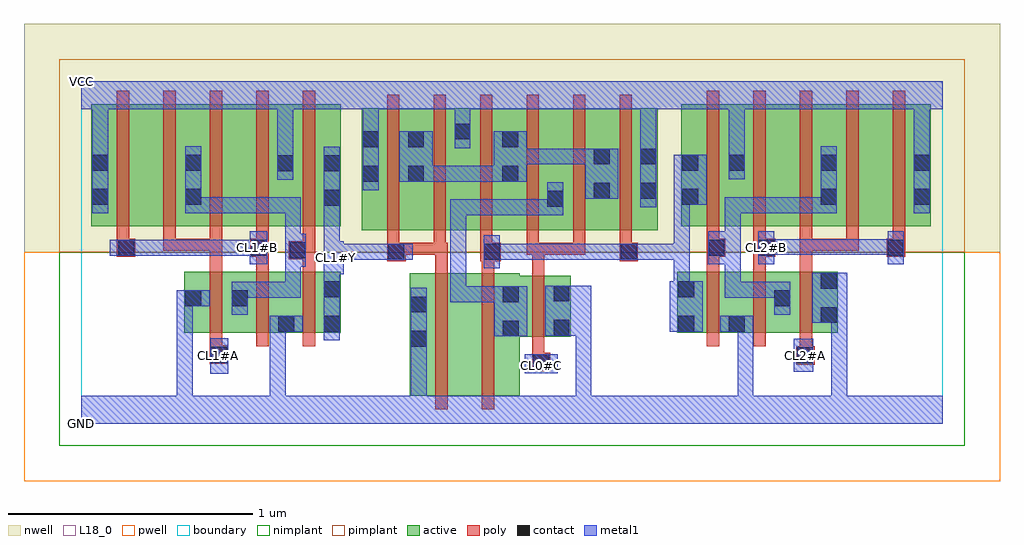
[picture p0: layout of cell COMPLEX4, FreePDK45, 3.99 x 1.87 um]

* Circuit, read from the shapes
.subckt COMPLEX4 CL0#C CL1#A CL1#B CL1#Y CL2#A CL2#B GND VCC
M1 n1 CL1#A GND VSUBS nfet w=0.25u l=0.05u
M2 GND CL1#B n1 VSUBS nfet w=0.25u l=0.05u
M3 CL1#Y n1 GND VSUBS nfet w=0.25u l=0.05u
M4 n2 CL1#Y GND VSUBS nfet w=0.5u l=0.05u
M5 n3 n4 n2 VSUBS nfet w=0.5u l=0.05u
M6 GND CL0#C n3 VSUBS nfet w=0.25u l=0.05u
M7 GND n5 n4 VSUBS nfet w=0.25u l=0.05u
M8 n5 CL2#B GND VSUBS nfet w=0.25u l=0.05u
M9 GND CL2#A n5 VSUBS nfet w=0.25u l=0.05u
M10 n6 CL1#B VCC n7 pfet w=0.5u l=0.05u
M11 n1 CL1#A n6 n7 pfet w=0.5u l=0.05u
M12 n8 CL1#A n1 n7 pfet w=0.5u l=0.05u
M13 VCC CL1#B n8 n7 pfet w=0.5u l=0.05u
M14 CL1#Y n1 VCC n7 pfet w=0.5u l=0.05u
M15 n9 CL1#Y VCC n7 pfet w=0.5u l=0.05u m=2
M16 n9 n4 VCC n7 pfet w=0.5u l=0.05u m=2
M17 n3 CL0#C n9 n7 pfet w=0.5u l=0.05u m=2
M18 VCC n5 n4 n7 pfet w=0.5u l=0.05u
M19 n10 CL2#B VCC n7 pfet w=0.5u l=0.05u
M20 n5 CL2#A n10 n7 pfet w=0.5u l=0.05u
M21 n11 CL2#A n5 n7 pfet w=0.5u l=0.05u
M22 VCC CL2#B n11 n7 pfet w=0.5u l=0.05u
.ends

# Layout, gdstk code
import gdstk
lib = gdstk.Library(unit=1e-6, precision=1e-09)
def R(c, l, rs):  # rectangles x0, y0, x1, y1
    for r in rs: c.add(gdstk.rectangle(r[:2], r[2:], *l))
def A(c, l, x, y, w, h, nx, ny, dx, dy):  # array of equal rectangles
    R(c, l, [(x+i*dx, y+j*dy, x+i*dx+w, y+j*dy+h) for i in range(nx) for j in range(ny)])
active = (1, 0)
pwell = (2, 0)
nwell = (3, 0)
nimplant = (4, 0)
pimplant = (5, 0)
poly = (9, 0)
contact = (10, 0)
metal1 = (11, 0)
L18_0 = (18, 0)
boundary = (235, 0)

complex4 = lib.new_cell('COMPLEX4')
R(complex4, active, [(1.342,0.115,1.567,0.615), (1.567,0.115,1.792,0.615), (1.342,0.145,1.417,0.615), (1.717,0.2,1.792,0.575), (1.717,0.355,2,0.605), (1.925,0.355,2,0.605), (0.42,0.372,0.495,0.622), (0.42,0.372,0.685,0.622), (0.61,0.372,0.875,0.622), (0.61,0.372,0.685,0.55), (0.8,0.372,1.06,0.622), (0.8,0.372,0.875,0.447), (0.985,0.372,1.06,0.622), (2.435,0.372,2.51,0.622), (2.435,0.372,2.717,0.622), (2.642,0.372,2.902,0.622), (2.642,0.372,2.717,0.447), (2.827,0.372,3.092,0.622), (2.827,0.372,2.902,0.55), (3.017,0.372,3.092,0.622), (1.145,0.79,1.22,1.29), (1.145,0.79,1.405,1.29), (1.33,0.79,1.595,1.29), (1.33,0.79,1.405,1.2), (1.52,0.79,1.79,1.29), (1.715,0.79,1.975,1.29), (1.9,0.79,2.165,1.29), (1.9,0.79,1.975,1.07), (2.09,0.79,2.355,1.29), (2.09,0.79,2.165,1.2), (2.28,0.79,2.355,1.29), (0.04,0.807,0.265,1.307), (0.04,0.807,0.115,1.307), (0.265,0.807,0.495,1.307), (0.42,0.807,0.645,1.307), (0.42,0.807,0.495,1.2), (0.645,0.807,0.87,1.307), (0.795,0.807,0.87,1.255), (0.795,0.807,1.06,1.307), (0.985,0.807,1.06,1.2), (1.52,0.807,1.595,1.29), (1.715,0.807,1.79,1.2), (2.452,0.807,2.527,1.2), (2.452,0.807,2.717,1.307), (2.642,0.807,2.867,1.307), (2.642,0.807,2.717,1.255), (2.867,0.807,3.092,1.307), (3.017,0.807,3.247,1.307), (3.017,0.807,3.092,1.2), (3.247,0.807,3.472,1.307), (3.397,0.807,3.472,1.307)])
R(complex4, pwell, [(-0.235,-0.235,3.755,0.7)])
R(complex4, nwell, [(-0.235,0.7,3.755,1.635)])
R(complex4, nimplant, [(-0.09,-0.09,3.61,0.7)])
R(complex4, pimplant, [(-0.09,0.7,3.61,1.49)])
A(complex4, poly, 0.525, 0.317, 0.05, 0.36, 3, 1, 0.19, 0)
A(complex4, poly, 2.557, 0.317, 0.05, 0.36, 3, 1, 0.19, 0)
A(complex4, poly, 1.25, 0.69, 0.05, 0.095, 6, 1, 0.19, 0)
A(complex4, poly, 0.145, 0.707, 0.05, 0.095, 4, 1, 0.19, 0)
A(complex4, poly, 2.557, 0.707, 0.05, 0.095, 5, 1, 0.19, 0)
A(complex4, poly, 1.25, 0.735, 0.05, 0.61, 6, 1, 0.19, 0)
A(complex4, poly, 0.145, 0.752, 0.05, 0.61, 5, 1, 0.19, 0)
A(complex4, poly, 2.557, 0.752, 0.05, 0.61, 5, 1, 0.19, 0)
R(complex4, poly, [(1.447,0.06,1.497,0.67), (1.637,0.06,1.687,0.67), (1.842,0.215,1.917,0.29), (1.842,0.24,1.892,0.35), (2.922,0.242,2.997,0.317), (0.525,0.245,0.6,0.32), (2.937,0.267,2.987,0.367), (0.525,0.27,0.575,0.367), (1.842,0.3,1.892,0.66), (1.842,0.61,1.892,0.74), (1.447,0.62,1.497,0.74), (1.637,0.62,1.687,0.715), (0.525,0.627,0.575,0.757), (0.715,0.627,0.765,0.732), (0.905,0.627,0.955,0.722), (2.557,0.627,2.607,0.732), (2.747,0.627,2.797,0.732), (2.937,0.627,2.987,0.757), (1.25,0.665,1.325,0.74), (1.63,0.665,1.715,0.74), (2.2,0.665,2.275,0.74), (0.847,0.672,0.955,0.747), (0.145,0.682,0.22,0.757), (0.69,0.682,0.765,0.757), (2.557,0.682,2.632,0.757), (2.747,0.682,2.837,0.757), (3.292,0.682,3.367,0.757), (1.275,0.69,1.49,0.74), (1.44,0.69,1.49,0.74), (1.44,0.69,1.49,0.74), (1.44,0.69,1.497,0.74), (1.82,0.69,1.892,0.74), (1.842,0.69,2.06,0.74), (2.01,0.69,2.06,0.74), (2.01,0.69,2.06,0.74), (2.01,0.69,2.06,0.74), (0.905,0.697,0.955,0.802), (0.335,0.707,0.575,0.757), (0.335,0.707,0.385,0.757), (0.335,0.707,0.385,0.757), (0.335,0.707,0.385,0.757), (0.525,0.707,0.575,0.757), (2.937,0.707,3.177,0.757), (2.937,0.707,2.987,0.757), (2.937,0.707,2.987,0.757), (2.937,0.707,2.987,0.757), (3.127,0.707,3.177,0.757)])
R(complex4, contact, [(1.847,0.22,1.912,0.285), (2.927,0.247,2.992,0.312), (0.53,0.25,0.595,0.315), (1.347,0.315,1.412,0.38), (1.722,0.357,1.787,0.422), (1.93,0.36,1.995,0.425), (0.805,0.377,0.87,0.442), (0.99,0.377,1.055,0.442), (2.44,0.377,2.505,0.442), (2.647,0.377,2.712,0.442), (3.022,0.412,3.087,0.477), (1.347,0.455,1.412,0.52), (0.425,0.48,0.49,0.545), (0.615,0.48,0.68,0.545), (2.832,0.48,2.897,0.545), (1.722,0.497,1.787,0.562), (1.93,0.5,1.995,0.565), (0.99,0.517,1.055,0.582), (2.44,0.517,2.505,0.582), (3.022,0.552,3.087,0.617), (1.255,0.67,1.32,0.735), (1.645,0.67,1.71,0.735), (2.205,0.67,2.27,0.735), (0.852,0.677,0.917,0.742), (0.15,0.687,0.215,0.752), (0.695,0.687,0.76,0.752), (2.562,0.687,2.627,0.752), (2.767,0.687,2.832,0.752), (3.297,0.687,3.362,0.752), (1.905,0.887,1.97,0.952), (0.99,0.892,1.055,0.957), (0.045,0.895,0.11,0.96), (0.425,0.895,0.49,0.96), (2.457,0.895,2.522,0.96), (3.022,0.895,3.087,0.96), (3.402,0.895,3.467,0.96), (2.095,0.92,2.16,0.985), (2.285,0.92,2.35,0.985), (1.15,0.99,1.215,1.055), (1.335,0.99,1.4,1.055), (1.72,0.99,1.785,1.055), (0.8,1.032,0.865,1.097), (0.99,1.032,1.055,1.097), (0.045,1.035,0.11,1.1), (0.425,1.035,0.49,1.1), (2.457,1.035,2.522,1.1), (2.647,1.035,2.712,1.1), (3.022,1.035,3.087,1.1), (3.402,1.035,3.467,1.1), (2.095,1.06,2.16,1.125), (2.285,1.06,2.35,1.125), (1.15,1.13,1.215,1.195), (1.335,1.13,1.4,1.195), (1.72,1.13,1.785,1.195), (1.525,1.162,1.59,1.227)])
A(complex4, metal1, 0.322, 0.687, 0.065, 0.065, 3, 1, 0.155, 0)
R(complex4, metal1, [(0,0,3.52,0.115), (0.39,0.05,0.455,0.115), (0.39,0.05,0.455,0.115), (0.39,0.05,0.455,0.115), (0.39,0.05,0.455,0.115), (0.39,0.05,0.455,0.115), (0.39,0.05,0.455,0.115), (0.39,0.05,0.455,0.545), (0.77,0.05,0.835,0.115), (0.77,0.05,0.835,0.115), (0.77,0.05,0.835,0.442), (1.347,0.05,1.412,0.115), (1.347,0.05,1.412,0.115), (1.347,0.05,1.412,0.345), (2.02,0.05,2.085,0.115), (2.02,0.05,2.085,0.115), (2.02,0.05,2.085,0.115), (2.02,0.05,2.085,0.115), (2.02,0.05,2.085,0.115), (2.02,0.05,2.085,0.115), (2.02,0.05,2.085,0.425), (2.682,0.05,2.747,0.115), (2.682,0.05,2.747,0.115), (2.682,0.05,2.747,0.442), (3.065,0.05,3.13,0.115), (3.065,0.05,3.13,0.115), (3.065,0.05,3.13,0.477), (0.527,0.205,0.6,0.35), (1.812,0.207,1.947,0.285), (2.912,0.212,2.992,0.347), (1.347,0.28,1.412,0.555), (0.99,0.342,1.055,0.617), (1.687,0.357,1.822,0.562), (1.895,0.36,2.085,0.565), (0.77,0.377,0.835,0.442), (0.77,0.377,0.835,0.442), (0.77,0.377,0.835,0.442), (0.77,0.377,0.835,0.442), (0.77,0.377,0.905,0.442), (2.405,0.377,2.54,0.582), (2.612,0.377,2.747,0.442), (2.682,0.377,2.747,0.442), (2.682,0.377,2.747,0.442), (2.682,0.377,2.747,0.442), (2.682,0.377,2.747,0.442), (2.987,0.412,3.13,0.617), (3.065,0.412,3.13,0.477), (3.065,0.412,3.13,0.477), (3.065,0.412,3.13,0.477), (3.065,0.412,3.13,0.477), (0.615,0.445,0.68,0.58), (2.832,0.445,2.897,0.58), (0.39,0.48,0.525,0.545), (1.507,0.497,1.572,0.562), (1.507,0.497,1.572,0.562), (1.507,0.497,1.572,0.562), (1.507,0.497,1.572,0.562), (1.507,0.497,1.572,0.562), (1.507,0.497,1.752,0.562), (1.507,0.497,1.572,0.917), (0.615,0.515,0.68,0.58), (0.615,0.515,0.68,0.58), (0.615,0.515,0.897,0.58), (0.832,0.515,0.897,0.58), (0.832,0.515,0.897,0.707), (2.63,0.515,2.695,0.58), (2.63,0.515,2.765,0.58), (2.63,0.515,2.695,0.717), (2.7,0.515,2.765,0.58), (2.7,0.515,2.897,0.58), (2.422,0.517,2.487,0.735), (0.99,0.552,1.055,0.677), (0.99,0.612,1.072,0.747), (1.645,0.635,1.71,0.77), (0.832,0.642,0.897,0.707), (0.832,0.642,0.917,0.707), (0.832,0.642,0.897,0.925), (0.852,0.642,0.917,0.777), (0.687,0.652,0.76,0.787), (2.562,0.652,2.627,0.787), (2.562,0.652,2.695,0.717), (2.63,0.652,2.695,0.717), (2.63,0.652,2.695,0.925), (2.767,0.652,2.832,0.787), (3.297,0.652,3.362,0.787), (1.007,0.67,1.072,0.735), (1.007,0.67,1.072,0.735), (1.007,0.67,1.285,0.735), (1.22,0.67,1.355,0.735), (1.645,0.67,1.71,0.735), (1.645,0.67,1.71,0.735), (1.645,0.67,1.957,0.735), (1.892,0.67,1.957,0.735), (1.892,0.67,1.957,0.735), (1.892,0.67,1.957,0.735), (1.892,0.67,2.097,0.735), (2.032,0.67,2.097,0.735), (2.032,0.67,2.097,0.735), (2.032,0.67,2.097,0.735), (2.032,0.67,2.235,0.735), (2.17,0.67,2.305,0.735), (2.24,0.67,2.305,0.735), (2.24,0.67,2.305,0.735), (2.24,0.67,2.487,0.735), (2.422,0.67,2.487,0.735), (2.422,0.67,2.487,0.96), (0.99,0.682,1.055,0.922), (0.115,0.687,0.25,0.752), (0.185,0.687,0.387,0.752), (0.185,0.687,0.25,0.752), (0.185,0.687,0.25,0.752), (0.322,0.687,0.387,0.752), (0.322,0.687,0.387,0.752), (0.322,0.687,0.542,0.752), (0.477,0.687,0.697,0.752), (0.632,0.687,0.752,0.752), (2.767,0.69,2.832,0.755), (2.767,0.69,2.832,0.755), (2.767,0.69,3.087,0.755), (3.022,0.69,3.087,0.755), (3.022,0.69,3.087,0.755), (3.022,0.69,3.087,0.755), (3.022,0.69,3.225,0.755), (3.16,0.69,3.362,0.755), (3.16,0.69,3.225,0.755), (3.16,0.69,3.225,0.755), (3.16,0.69,3.225,0.755), (1.507,0.852,1.572,0.917), (1.507,0.852,1.572,0.917), (1.507,0.852,1.572,0.917), (1.507,0.852,1.82,0.917), (1.755,0.852,1.82,0.917), (1.755,0.852,1.847,0.917), (1.782,0.852,1.847,0.917), (1.782,0.852,1.97,0.917), (1.905,0.852,1.97,0.987), (0.99,0.857,1.055,1.132), (0.045,0.86,0.11,1.135), (0.425,0.86,0.49,1.135), (0.425,0.86,0.525,0.925), (0.46,0.86,0.525,0.925), (0.46,0.86,0.68,0.925), (0.615,0.86,0.68,0.925), (0.615,0.86,0.68,0.925), (0.615,0.86,0.68,0.925), (0.615,0.86,0.897,0.925), (0.832,0.86,0.897,0.925), (2.63,0.86,2.695,0.925), (2.63,0.86,2.84,0.925), (2.775,0.86,2.84,0.925), (2.775,0.86,2.84,0.925), (2.775,0.86,2.84,0.925), (2.775,0.86,3.087,0.925), (3.022,0.86,3.087,1.135), (3.022,0.86,3.087,0.925), (3.022,0.86,3.087,0.925), (3.402,0.86,3.467,1.135), (2.285,0.885,2.35,1.16), (2.422,0.895,2.557,1.1), (2.06,0.92,2.195,1.125), (1.15,0.955,1.215,1.23), (1.3,0.99,1.435,1.195), (1.37,0.99,1.572,1.055), (1.37,0.99,1.435,1.055), (1.37,0.99,1.435,1.055), (1.507,0.99,1.572,1.055), (1.507,0.99,1.572,1.055), (1.507,0.99,1.572,1.055), (1.507,0.99,1.75,1.055), (1.685,0.99,1.82,1.195), (0.8,0.997,0.865,1.132), (2.647,1,2.712,1.135), (1.755,1.06,1.957,1.125), (1.892,1.06,1.957,1.125), (1.892,1.06,1.957,1.125), (1.892,1.06,1.957,1.125), (1.892,1.06,2.095,1.125), (2.03,1.06,2.095,1.125), (2.03,1.06,2.125,1.125), (0.8,1.067,0.865,1.35), (0.045,1.07,0.11,1.35), (2.647,1.07,2.712,1.35), (3.402,1.07,3.467,1.35), (2.285,1.095,2.35,1.35), (1.525,1.127,1.59,1.262), (1.15,1.165,1.215,1.35), (1.525,1.197,1.59,1.35), (0,1.285,3.52,1.4)])
A(complex4, L18_0, 0.322, 0.687, 0.065, 0.065, 3, 1, 0.155, 0)
R(complex4, L18_0, [(0,0,3.52,0.115), (0.39,0.05,0.455,0.115), (0.39,0.05,0.455,0.115), (0.39,0.05,0.455,0.115), (0.39,0.05,0.455,0.115), (0.39,0.05,0.455,0.115), (0.39,0.05,0.455,0.115), (0.39,0.05,0.455,0.545), (0.77,0.05,0.835,0.115), (0.77,0.05,0.835,0.115), (0.77,0.05,0.835,0.442), (1.347,0.05,1.412,0.115), (1.347,0.05,1.412,0.115), (1.347,0.05,1.412,0.345), (2.02,0.05,2.085,0.115), (2.02,0.05,2.085,0.115), (2.02,0.05,2.085,0.115), (2.02,0.05,2.085,0.115), (2.02,0.05,2.085,0.115), (2.02,0.05,2.085,0.115), (2.02,0.05,2.085,0.425), (2.682,0.05,2.747,0.115), (2.682,0.05,2.747,0.115), (2.682,0.05,2.747,0.442), (3.065,0.05,3.13,0.115), (3.065,0.05,3.13,0.115), (3.065,0.05,3.13,0.477), (0.527,0.205,0.6,0.35), (1.812,0.207,1.947,0.285), (1.847,0.207,1.912,0.272), (2.912,0.212,2.992,0.347), (0.527,0.247,0.592,0.312), (2.927,0.247,2.992,0.312), (1.347,0.28,1.412,0.555), (0.99,0.342,1.055,0.617), (1.895,0.36,2.085,0.565), (0.77,0.377,0.905,0.442), (0.77,0.377,0.835,0.442), (0.77,0.377,0.835,0.442), (0.77,0.377,0.835,0.442), (0.77,0.377,0.835,0.442), (2.612,0.377,2.747,0.442), (2.682,0.377,2.747,0.442), (2.682,0.377,2.747,0.442), (2.682,0.377,2.747,0.442), (2.682,0.377,2.747,0.442), (2.987,0.412,3.13,0.617), (3.065,0.412,3.13,0.477), (3.065,0.412,3.13,0.477), (3.065,0.412,3.13,0.477), (3.065,0.412,3.13,0.477), (0.39,0.48,0.525,0.545), (0.99,0.552,1.055,0.677), (0.99,0.612,1.072,0.747), (1.007,0.647,1.072,0.712), (0.687,0.652,0.76,0.787), (2.767,0.652,2.832,0.787), (3.297,0.652,3.362,0.787), (1.007,0.67,1.072,0.735), (1.007,0.67,1.072,0.735), (1.007,0.67,1.285,0.735), (1.22,0.67,1.355,0.735), (0.99,0.682,1.055,0.922), (0.115,0.687,0.25,0.752), (0.185,0.687,0.25,0.752), (0.185,0.687,0.25,0.752), (0.185,0.687,0.387,0.752), (0.322,0.687,0.387,0.752), (0.322,0.687,0.387,0.752), (0.322,0.687,0.542,0.752), (0.477,0.687,0.697,0.752), (0.632,0.687,0.752,0.752), (0.687,0.687,0.752,0.752), (2.767,0.687,2.832,0.752), (2.767,0.69,2.832,0.755), (2.767,0.69,2.832,0.755), (2.767,0.69,3.087,0.755), (3.022,0.69,3.087,0.755), (3.022,0.69,3.087,0.755), (3.022,0.69,3.087,0.755), (3.022,0.69,3.225,0.755), (3.16,0.69,3.225,0.755), (3.16,0.69,3.225,0.755), (3.16,0.69,3.225,0.755), (3.16,0.69,3.362,0.755), (0.99,0.857,1.055,1.132), (0.045,0.86,0.11,1.135), (3.402,0.86,3.467,1.135), (2.285,0.885,2.35,1.16), (1.15,0.955,1.215,1.23), (0.8,0.997,0.865,1.132), (2.647,1,2.712,1.135), (0.8,1.067,0.865,1.35), (0.045,1.07,0.11,1.35), (2.647,1.07,2.712,1.35), (3.402,1.07,3.467,1.35), (2.285,1.095,2.35,1.35), (1.525,1.127,1.59,1.262), (1.15,1.165,1.215,1.35), (1.525,1.197,1.59,1.35), (0,1.285,3.52,1.4)])
R(complex4, boundary, [(0,0,3.52,1.4)])
complex4.add(gdstk.Label('CL0#C', (1.88,0.24), layer=11, texttype=0))
complex4.add(gdstk.Label('CL1#A', (0.56,0.28), layer=11, texttype=0))
complex4.add(gdstk.Label('CL1#B', (0.72,0.72), layer=11, texttype=0))
complex4.add(gdstk.Label('CL1#Y', (1.04,0.68), layer=11, texttype=0))
complex4.add(gdstk.Label('CL2#A', (2.96,0.28), layer=11, texttype=0))
complex4.add(gdstk.Label('CL2#B', (2.8,0.72), layer=11, texttype=0))
complex4.add(gdstk.Label('VCC', (0,1.4), layer=11, texttype=0))
complex4.add(gdstk.Label('GND', (0,0), layer=11, texttype=0))

lib.write_gds('COMPLEX4.gds')
